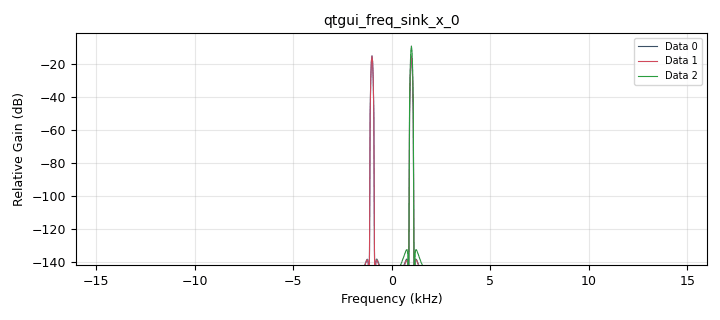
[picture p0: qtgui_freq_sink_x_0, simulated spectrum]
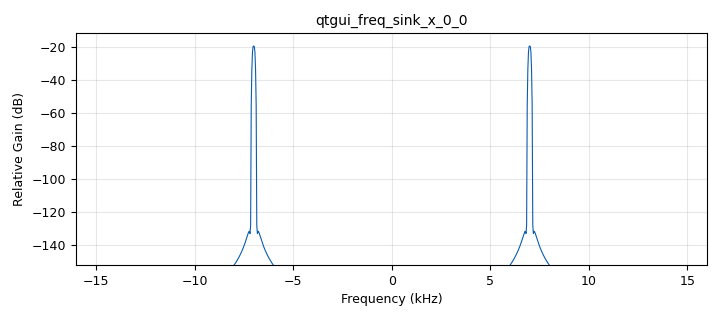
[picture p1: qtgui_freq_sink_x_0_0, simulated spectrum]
options:
  parameters:
    author: HP
    generate_options: qt_gui
    id: Lecture_5
    output_language: python
    title: Not titled yet
  states: {}

blocks:
- name: samp_rate
  id: variable
  parameters:
    value: '32000'
  states: {}
- name: analog_const_source_x_0
  id: analog_const_source_x
  parameters:
    const: '0'
    type: float
  states: {}
- name: analog_const_source_x_0_0
  id: analog_const_source_x
  parameters:
    const: '0'
    type: float
  states: {}
- name: analog_sig_source_x_0
  id: analog_sig_source_x
  parameters:
    amp: '1'
    freq: '1000'
    offset: '0'
    phase: '0'
    samp_rate: samp_rate
    type: float
    waveform: analog.GR_COS_WAVE
  states: {}
- name: analog_sig_source_x_0_0
  id: analog_sig_source_x
  parameters:
    amp: '1'
    freq: '1000'
    offset: '0'
    phase: '0'
    samp_rate: samp_rate
    type: float
    waveform: analog.GR_SIN_WAVE
  states: {}
- name: analog_sig_source_x_0_1
  id: analog_sig_source_x
  parameters:
    amp: '1'
    freq: '6000'
    offset: '0'
    phase: '0'
    samp_rate: samp_rate
    type: complex
    waveform: analog.GR_COS_WAVE
  states: {}
- name: blocks_complex_to_real_0
  id: blocks_complex_to_real
  parameters: {}
  states: {}
- name: blocks_float_to_complex_0
  id: blocks_float_to_complex
  parameters: {}
  states: {}
- name: blocks_float_to_complex_0_0
  id: blocks_float_to_complex
  parameters: {}
  states: {}
- name: blocks_float_to_complex_0_1
  id: blocks_float_to_complex
  parameters: {}
  states: {}
- name: blocks_multiply_xx_1
  id: blocks_multiply_xx
  parameters:
    type: complex
  states: {}
- name: blocks_throttle2_0
  id: blocks_throttle2
  parameters:
    samples_per_second: samp_rate
    type: complex
  states: {}
- name: qtgui_freq_sink_x_0
  id: qtgui_freq_sink_x
  parameters:
    autoscale: 'True'
    bw: samp_rate
    fc: '0'
    fftsize: '1024'
    nconnections: '3'
    type: complex
  states: {}
- name: qtgui_freq_sink_x_0_0
  id: qtgui_freq_sink_x
  parameters:
    autoscale: 'True'
    average: '0.05'
    bw: samp_rate
    fc: '0'
    fftsize: '1024'
    type: float
    wintype: window.WIN_FLATTOP
  states: {}

connections:
- [analog_const_source_x_0, '0', blocks_float_to_complex_0_1, '1']
- [analog_const_source_x_0_0, '0', blocks_float_to_complex_0_0, '1']
- [analog_sig_source_x_0, '0', blocks_float_to_complex_0, '0']
- [analog_sig_source_x_0, '0', blocks_float_to_complex_0_1, '0']
- [analog_sig_source_x_0_0, '0', blocks_float_to_complex_0, '1']
- [analog_sig_source_x_0_0, '0', blocks_float_to_complex_0_0, '0']
- [analog_sig_source_x_0_1, '0', blocks_multiply_xx_1, '1']
- [blocks_complex_to_real_0, '0', qtgui_freq_sink_x_0_0, '0']
- [blocks_float_to_complex_0, '0', blocks_multiply_xx_1, '0']
- [blocks_float_to_complex_0, '0', blocks_throttle2_0, '0']
- [blocks_float_to_complex_0_0, '0', qtgui_freq_sink_x_0, '1']
- [blocks_float_to_complex_0_1, '0', qtgui_freq_sink_x_0, '0']
- [blocks_multiply_xx_1, '0', blocks_complex_to_real_0, '0']
- [blocks_throttle2_0, '0', qtgui_freq_sink_x_0, '2']

metadata:
  file_format: 1
  grc_version: 3.10.12.0
